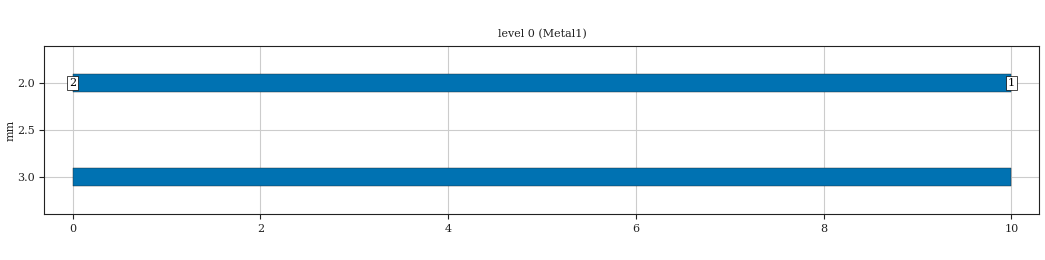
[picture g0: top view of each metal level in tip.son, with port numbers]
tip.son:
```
FTYP SONPROJ 17 ! Sonnet Project File
VER 17.52.2
HEADER
LIC antikernel2.1.48685 90e2ba8817c0 havequick azonenberg
DAT 10/19/2020 20:34:14
BUILT_BY_CREATED xgeom 16.56 07/03/2018 15:05:41
BUILT_BY_SAVED sonnet 17.52.2
MDATE 10/19/2020 20:34:14
HDATE 10/19/2020 20:34:14
END HEADER
DIM
ANG DEG
CAP PF
CON /OH
FREQ GHZ
IND NH
LNG MM
RES OH
END DIM
CONTROL
VARSWP
OPTIONS  -dj
SPEED 1
CACHE_ABS 1
Q_ACC N
END CONTROL
GEO
TMET "Free Space" 0 FREESPACE 376.7303136 0 0 0
BMET "Free Space" 0 FREESPACE 376.7303136 0 0 0
MET "Silver" 1 TMM 61700000 0.5 0.035 3
MET "Copper 1oz thick" 2 TMM 58000000 0.5 0.035 3
MET "Copper 1oz thin" 1 NOR 58000000 0.5 0.035 
BOX 2 10 5 160 400 20 0
      1 1 1 0 0 0 0 "Air"
      0.102 3.2 1 0.002 0 0 0 "Panasonic F775"
      1 1 1 0 0 0 0 "Substrate"
TECHLAY METAL Metal1 <UNSPECIFIED> -2 0 
0 0 1 N 0 1 1 100 100 0 0 0 Y
END
END
TECHLAY METAL Metal2 <UNSPECIFIED> -3 0 
1 0 2 N 0 1 1 100 100 0 0 0 Y
END
END
DIM STD YDIR -1
POS -0.1406993586 -0.4800913675
NOM 0.8
REF1 POLY 259 1
0
REF2 POLY 258 1
3
END
LORGN 0 250 U 
POR1 BOX
POLY 258 1
1
1 50 0 0 0 10 2 
POR1 BOX
POLY 258 1
3
2 50 0 0 0 0 2 
NUM 2
0 5 1 N 258 1 1 100 100 0 0 0 Y
TLAYNAM Metal1 INH
0 1.9
10 1.9
10 2.1
0 2.1
0 1.9
END
0 5 1 N 259 1 1 100 100 0 0 0 Y
TLAYNAM Metal1 INH
0 2.9
10 2.9
10 3.1
0 3.1
0 2.9
END
END GEO
OPT
MAX 100
END OPT
VARSWP
ENABLED Y
FREQ Y AY ABS_ENTRY 0.1 10.0 -1 300 
END
END VARSWP
FILEOUT
FOLDER .
END FILEOUT
```
